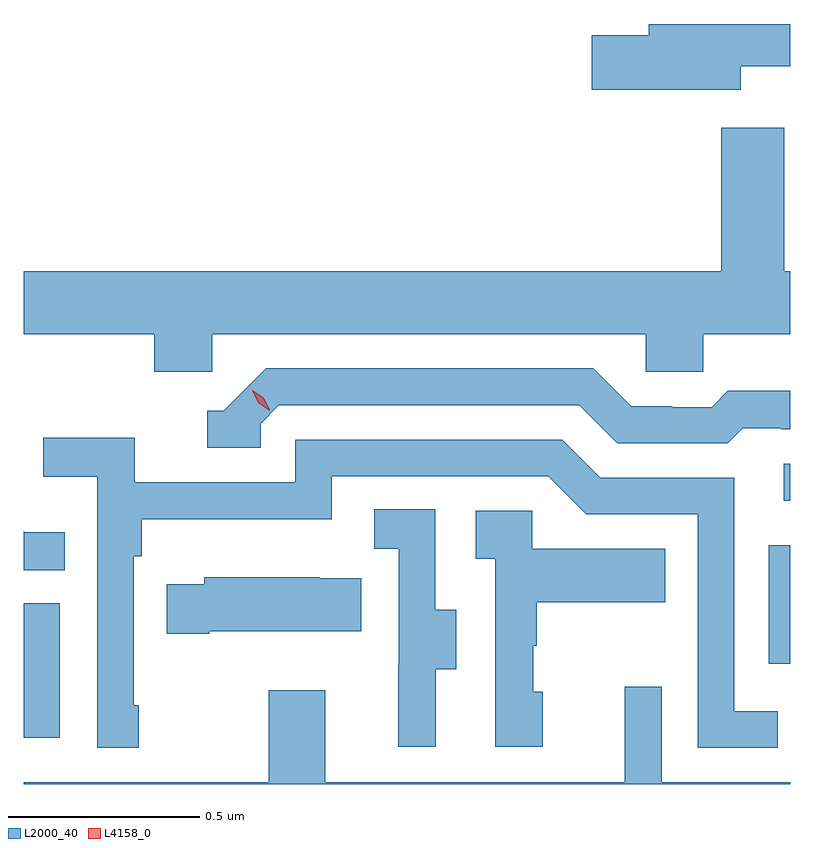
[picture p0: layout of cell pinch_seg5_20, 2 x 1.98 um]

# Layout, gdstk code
import gdstk
lib = gdstk.Library(unit=1e-6, precision=1e-09)
def R(c, l, rs):  # rectangles x0, y0, x1, y1
    for r in rs: c.add(gdstk.rectangle(r[:2], r[2:], *l))
def P(c, l, *ps):  # polygons
    for p in ps: c.add(gdstk.Polygon(p, *l))
L2000_40 = (2000, 40)
L4158_0 = (4158, 0)

pinch_seg5_20 = lib.new_cell('pinch_seg5_20')
R(pinch_seg5_20, L2000_40, [(1122.228,904.992,1122.322,905.343), (1124.172,905.184,1124.228,905.494), (1124.211,905.61,1124.228,905.706)])
P(pinch_seg5_20, L2000_40, [(1124.098,906.743),(1124.228,906.743),(1124.228,906.853),(1123.859,906.853),(1123.859,906.824),(1123.71,906.824),(1123.71,906.682),(1124.098,906.682)],
  [(1122.72,906.044),(1123.851,906.044),(1123.851,905.946),(1124.001,905.946),(1124.001,906.044),(1124.228,906.044),(1124.228,906.208),(1124.212,906.208),(1124.212,906.583),(1124.048,906.583),(1124.048,906.208),(1122.228,906.208),(1122.228,906.044),(1122.569,906.044),(1122.569,905.946),(1122.72,905.946)],
  [(1122.846,905.811),(1122.894,905.859),(1123.677,905.859),(1123.776,905.76),(1124.065,905.76),(1124.104,905.799),(1124.203,905.799),(1124.203,905.796),(1124.228,905.796),(1124.228,905.896),(1124.065,905.896),(1124.023,905.853),(1123.92,905.853),(1123.92,905.856),(1123.813,905.856),(1123.714,905.955),(1122.861,905.955),(1122.75,905.844),(1122.707,905.844),(1122.707,905.748),(1122.846,905.748)],
  [(1122.529,905.077),(1122.516,905.077),(1122.516,905.465),(1122.536,905.465),(1122.536,905.561),(1123.032,905.561),(1123.032,905.673),(1123.596,905.673),(1123.695,905.574),(1123.986,905.574),(1123.986,904.965),(1124.195,904.965),(1124.195,905.061),(1124.082,905.061),(1124.082,905.67),(1123.732,905.67),(1123.633,905.769),(1122.936,905.769),(1122.936,905.658),(1122.518,905.658),(1122.518,905.774),(1122.279,905.774),(1122.279,905.672),(1122.42,905.672),(1122.42,904.965),(1122.529,904.965)],
  [(1123.303,905.17),(1123.357,905.17),(1123.357,905.325),(1123.302,905.325),(1123.302,905.588),(1123.143,905.588),(1123.143,905.485),(1123.206,905.485),(1123.206,905.181),(1123.205,905.181),(1123.205,904.968),(1123.303,904.968)],
  [(1123.582,905.112),(1123.557,905.112),(1123.557,905.231),(1123.567,905.231),(1123.567,905.345),(1123.901,905.345),(1123.901,905.485),(1123.554,905.485),(1123.554,905.583),(1123.407,905.583),(1123.407,905.459),(1123.458,905.459),(1123.458,904.968),(1123.582,904.968)],
  [(1122.335,905.527),(1122.231,905.527),(1122.228,905.53),(1122.228,905.428),(1122.335,905.428)],
  [(1122.712,905.27),(1123.109,905.27),(1123.109,905.407),(1123.001,905.407),(1123.001,905.41),(1122.699,905.41),(1122.699,905.392),(1122.601,905.392),(1122.601,905.263),(1122.712,905.263)],
  [(1124.228,904.876),(1123.893,904.876),(1123.893,905.125),(1123.796,905.125),(1123.796,904.876),(1123.015,904.876),(1123.015,905.116),(1122.868,905.116),(1122.868,904.876),(1122.228,904.876),(1122.228,904.871),(1124.228,904.871)])
P(pinch_seg5_20, L4158_0, [(1122.87,905.845),(1122.84,905.865),(1122.824,905.898),(1122.824,905.898),(1122.825,905.898),(1122.855,905.878),(1122.87,905.846),(1122.87,905.845)])

lib.write_gds('pinch_seg5_20.gds')
